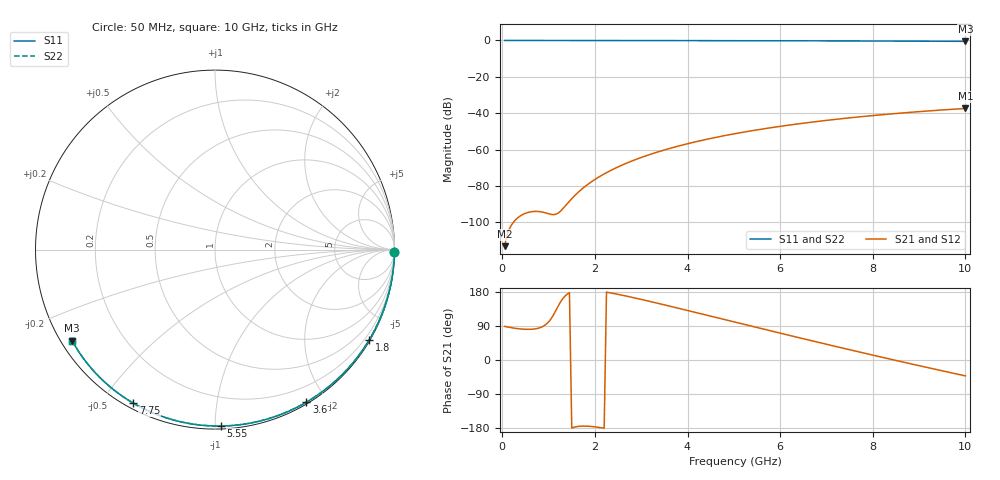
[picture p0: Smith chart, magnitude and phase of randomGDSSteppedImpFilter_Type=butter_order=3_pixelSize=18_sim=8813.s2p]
! freq	dB(S11)	phase(S11)	dB(S12)	phase(S12)
!  dB(S21)	phase(S21)	dB(S22)	phase(S22)
!S-par simulation data
#  GHz  S  DB  R 50
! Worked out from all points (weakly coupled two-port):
!   200 points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, 50 MHz to 10 GHz, reference 50 ohm
!   highest |S21| = -37.36 dB at 10 GHz (marker M1); lowest = -113.1 dB at 50 MHz (marker M2)
!   lowest |S11| = -0.5 dB at 10 GHz (marker M3), VSWR 34.97, Z = 1.55 - j14.6 ohm
!   |S11| at or under -10 dB: nowhere
!   |S22| runs from -0.5 to 0.0 dB; largest |S21 - S12| = 0
!   S11 on the Smith chart (normalised r, x): 50 MHz: open; 1.8 GHz: 0.03, -3.69; 3.6 GHz: 0.02, -1.76; 5.55 GHz: 0.02, -1.04; 7.75 GHz: 0.02, -0.60; 10 GHz: 0.03, -0.29
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0.05  -0.00 -0.9  -113.06 88.7  -113.06 88.7  -0.00 -0.9
0.45  -0.01 -7.7  -95.56 81.3  -95.56 81.3  -0.01 -7.7
0.9  -0.02 -15.3  -94.53 90.3  -94.53 90.3  -0.02 -15.3
1.3  -0.03 -22.0  -92.70 161.0  -92.70 161.0  -0.03 -22.0
1.75  -0.04 -29.5  -80.99 -174.5  -80.99 -174.5  -0.04 -29.5
1.8  -0.04 -30.3  -79.98 -174.5  -79.98 -174.5  -0.04 -30.3
1.95  -0.04 -32.8  -77.23 -175.7  -77.23 -175.7  -0.04 -32.8
2.1  -0.04 -35.2  -74.82 -178.0  -74.82 -178.0  -0.04 -35.2
2.3  -0.05 -38.5  -71.98 178.0  -71.98 178.0  -0.05 -38.5
2.5  -0.05 -41.7  -69.49 173.2  -69.49 173.2  -0.05 -41.7
2.9  -0.06 -48.1  -65.25 162.7  -65.25 162.7  -0.06 -48.1
3.4  -0.07 -56.0  -60.94 148.4  -60.94 148.4  -0.07 -56.0
3.6  -0.08 -59.1  -59.45 142.6  -59.45 142.6  -0.08 -59.1
4.3  -0.10 -69.8  -54.96 121.7  -54.96 121.7  -0.10 -69.8
5.05  -0.12 -80.8  -51.11 99.2  -51.11 99.2  -0.12 -80.8
5.55  -0.14 -88.0  -48.94 84.2  -48.94 84.2  -0.14 -88.0
6.1  -0.17 -95.7  -46.84 67.9  -46.84 67.9  -0.17 -95.7
6.7  -0.20 -104.0  -44.83 50.2  -44.83 50.2  -0.20 -104.0
7.75  -0.27 -118.1  -41.89 20.0  -41.89 20.0  -0.27 -118.1
8.35  -0.32 -125.9  -40.47 3.0  -40.47 3.0  -0.32 -125.9
9.2  -0.40 -137.0  -38.74 -20.4  -38.74 -20.4  -0.41 -137.0
10  -0.50 -147.5  -37.36 -41.9  -37.36 -41.9  -0.50 -147.5
